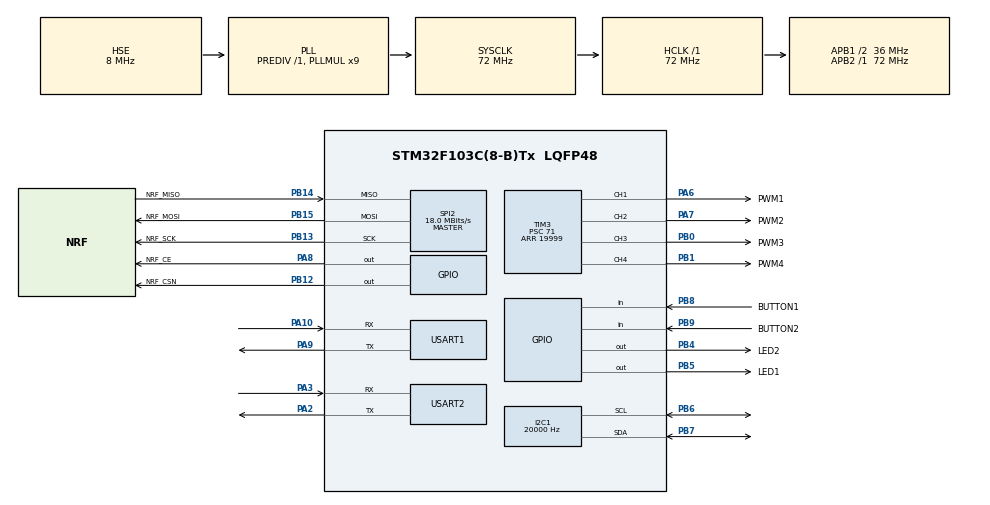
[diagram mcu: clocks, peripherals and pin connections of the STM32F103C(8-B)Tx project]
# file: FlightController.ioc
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Dma.Request0=USART1_RX
Dma.Request1=USART2_RX
Dma.USART1_RX.0.Direction=DMA_PERIPH_TO_MEMORY
Dma.USART1_RX.0.Instance=DMA1_Channel5
Dma.USART1_RX.0.MemDataAlignment=DMA_MDATAALIGN_BYTE
Dma.USART1_RX.0.MemInc=DMA_MINC_ENABLE
Dma.USART1_RX.0.Mode=DMA_NORMAL
Dma.USART1_RX.0.PeriphDataAlignment=DMA_PDATAALIGN_BYTE
Dma.USART1_RX.0.PeriphInc=DMA_PINC_DISABLE
Dma.USART1_RX.0.Priority=DMA_PRIORITY_LOW
Dma.USART2_RX.1.Direction=DMA_PERIPH_TO_MEMORY
Dma.USART2_RX.1.Instance=DMA1_Channel6
Dma.USART2_RX.1.MemDataAlignment=DMA_MDATAALIGN_BYTE
Dma.USART2_RX.1.MemInc=DMA_MINC_ENABLE
Dma.USART2_RX.1.Mode=DMA_NORMAL
Dma.USART2_RX.1.PeriphDataAlignment=DMA_PDATAALIGN_BYTE
Dma.USART2_RX.1.PeriphInc=DMA_PINC_DISABLE
Dma.USART2_RX.1.Priority=DMA_PRIORITY_LOW
I2C1.ClockSpeed=20000
Mcu.Family=STM32F1
Mcu.Name=STM32F103C(8-B)Tx
Mcu.Package=LQFP48
NVIC.DMA1_Channel5_IRQn=true\:0\:0\:false\:false\:true\:false\:true
NVIC.DMA1_Channel6_IRQn=true\:0\:0\:false\:false\:true\:false\:true
NVIC.PriorityGroup=NVIC_PRIORITYGROUP_4
NVIC.TIM4_IRQn=true\:2\:0\:true\:false\:true\:true\:true
NVIC.USART1_IRQn=true\:1\:0\:true\:false\:true\:true\:true
NVIC.USART2_IRQn=true\:1\:0\:true\:false\:true\:true\:true
PA0-WKUP.Mode=SYS_WakeUp0
PA0-WKUP.Signal=SYS_WKUP
PA10.Mode=Asynchronous
PA10.Signal=USART1_RX
PA13.Mode=Serial_Wire
PA13.Signal=SYS_JTMS-SWDIO
PA14.Mode=Serial_Wire
PA14.Signal=SYS_JTCK-SWCLK
PA2.Mode=Asynchronous
PA2.Signal=USART2_TX
PA3.Mode=Asynchronous
PA3.Signal=USART2_RX
PA6.GPIO_Label=PWM1
PA6.Signal=S_TIM3_CH1
PA7.GPIO_Label=PWM2
PA7.Signal=S_TIM3_CH2
PA8.GPIO_Label=NRF_CE
PA8.Signal=GPIO_Output
PA9.Mode=Asynchronous
PA9.Signal=USART1_TX
PB0.GPIO_Label=PWM3
PB0.Signal=S_TIM3_CH3
PB1.GPIO_Label=PWM4
PB1.Signal=S_TIM3_CH4
PB12.GPIO_Label=NRF_CSN
PB12.Signal=GPIO_Output
PB13.GPIO_Label=NRF_SCK
PB13.Mode=Full_Duplex_Master
PB13.Signal=SPI2_SCK
PB14.GPIO_Label=NRF_MISO
PB14.Mode=Full_Duplex_Master
PB14.Signal=SPI2_MISO
PB15.GPIO_Label=NRF_MOSI
PB15.Mode=Full_Duplex_Master
PB15.Signal=SPI2_MOSI
PB4.GPIO_Label=LED2
PB4.Signal=GPIO_Output
PB5.GPIO_Label=LED1
PB5.Signal=GPIO_Output
PB6.Mode=I2C
PB6.Signal=I2C1_SCL
PB7.Mode=I2C
PB7.Signal=I2C1_SDA
PB8.GPIO_Label=BUTTON1
PB8.Signal=GPIO_Input
PB9.GPIO_Label=BUTTON2
PB9.Signal=GPIO_Input
PD0-OSC_IN.Mode=HSE-External-Oscillator
PD0-OSC_IN.Signal=RCC_OSC_IN
PD1-OSC_OUT.Mode=HSE-External-Oscillator
PD1-OSC_OUT.Signal=RCC_OSC_OUT
ProjectManager.HeapSize=0x200
ProjectManager.StackSize=0x400
ProjectManager.TargetToolchain=STM32CubeIDE
RCC.AHBFreq_Value=72000000
RCC.APB1CLKDivider=RCC_HCLK_DIV2
RCC.APB1Freq_Value=36000000
RCC.APB1TimFreq_Value=72000000
RCC.APB2Freq_Value=72000000
RCC.APB2TimFreq_Value=72000000
RCC.HCLKFreq_Value=72000000
RCC.PLLMUL=RCC_PLL_MUL9
RCC.PLLSourceVirtual=RCC_PLLSOURCE_HSE
RCC.SYSCLKFreq_VALUE=72000000
RCC.SYSCLKSource=RCC_SYSCLKSOURCE_PLLCLK
RCC.USBFreq_Value=72000000
SH.S_TIM3_CH1.0=TIM3_CH1,PWM Generation1 CH1
SH.S_TIM3_CH2.0=TIM3_CH2,PWM Generation2 CH2
SH.S_TIM3_CH3.0=TIM3_CH3,PWM Generation3 CH3
SH.S_TIM3_CH4.0=TIM3_CH4,PWM Generation4 CH4
SPI2.CalculateBaudRate=18.0 MBits/s
SPI2.Direction=SPI_DIRECTION_2LINES
SPI2.Mode=SPI_MODE_MASTER
SPI2.VirtualType=VM_MASTER
TIM3.AutoReloadPreload=TIM_AUTORELOAD_PRELOAD_DISABLE
TIM3.Channel-PWM\ Generation1\ CH1=TIM_CHANNEL_1
TIM3.Channel-PWM\ Generation2\ CH2=TIM_CHANNEL_2
TIM3.Channel-PWM\ Generation3\ CH3=TIM_CHANNEL_3
TIM3.Channel-PWM\ Generation4\ CH4=TIM_CHANNEL_4
TIM3.Period=19999
TIM3.Prescaler=71
TIM3.Pulse-PWM\ Generation1\ CH1=1450
TIM3.Pulse-PWM\ Generation2\ CH2=1500
TIM3.Pulse-PWM\ Generation3\ CH3=900
TIM3.Pulse-PWM\ Generation4\ CH4=980
TIM4.Period=999
TIM4.Prescaler=719
USART1.VirtualMode=VM_ASYNC
USART2.VirtualMode=VM_ASYNC
VP_TIM4_VS_ClockSourceINT.Mode=Internal
board=custom

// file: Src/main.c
/* USER CODE BEGIN Header */
/**
  ******************************************************************************
  * @file           : main.c
  * @brief          : Main program body
  ******************************************************************************
  * @attention
  *
  * Copyright (c) 2023 STMicroelectronics.
  * All rights reserved.
  *
  * This software is licensed under terms that can be found in the LICENSE file
  * in the root directory of this software component.
  * If no LICENSE file comes with this software, it is provided AS-IS.
  *
  ******************************************************************************
  */
/* USER CODE END Header */

#include "main.h"

/* USER CODE BEGIN Includes */
#include "mpu9255.h"
#include <stdio.h>
#include "nrf24.h"
#include "pid.h"
#include "motor.h"
#include "frame_uart.h"
/* USER CODE END Includes */

/* USER CODE BEGIN PTD */
#if ((DEBUG_RX + DEBUG_MPU + DEBUG_PWM) > 1)
#error "Define only one DEMO_xx, use the '1' value"
#endif
/* USER CODE END PTD */

I2C_HandleTypeDef hi2c1;

SPI_HandleTypeDef hspi2;

TIM_HandleTypeDef htim3;
TIM_HandleTypeDef htim4;

UART_HandleTypeDef huart1;
UART_HandleTypeDef huart2;
DMA_HandleTypeDef hdma_usart1_rx;
DMA_HandleTypeDef hdma_usart2_rx;

/* USER CODE BEGIN PV */
MPU9255_t MPU9255;

uint32_t value[5];
extern NRF_Packet payload_packet;

PID_t pid;

uint32_t start_time = 0;

#if (TUNING)
volatile float Kp_angle_pitch = 0.0;
volatile float Ki_angle_pitch = 0.0;
volatile float Kd_angle_pitch = 0.0;

volatile float Kp_angle_roll = 0.0;
volatile float Ki_angle_roll = 0.0;
volatile float Kd_angle_roll = 0.0;

volatile float Kp_rate_pitch = 0.0;
volatile float Ki_rate_pitch = 0.0;
volatile float Kd_rate_pitch = 0.0;

volatile float Kp_rate_roll = 0.0;
volatile float Ki_rate_roll = 0.0;
volatile float Kd_rate_roll = 0.0;

volatile float Kp_rate_yaw = 0.0;
volatile float Ki_rate_yaw = 0.0;
volatile float Kd_rate_yaw = 0.0;

float SERVO_RIGHT_OFFSET = 0;          // Servo offset for right servo
float SERVO_LEFT_OFFSET = 0;           //
volatile float MOTOR_RIGHT_OFFSET = 980; //
volatile float MOTOR_LEFT_OFFSET = 900;  //

volatile float set_point = 0;

// qt_tune qt_data;
uint8_t f_trans[FRAME_DATA_TX];
uint8_t f_dest_trans[FRAME_DATA_TX_HANDLE];
uint16_t f_dest_len_t = 0;

uint8_t f_recei[FRAME_DATA_RX_HANDLE];
uint8_t f_dest_recei[FRAME_DATA_RX];
uint16_t f_dest_len_r = 0;
volatile float q_Roll_angle = 0;

#else

#endif

#if TUNING
typedef struct
{
  volatile float Kp_r;
  volatile float Ki_r;
  volatile float Kd_r;

  volatile float Kp_p;
  volatile float Ki_p;
  volatile float Kd_p;

//  volatile float Kp_y;
//  volatile float Ki_y;
//  volatile float Kd_y;

  volatile float off_motor_l;
  volatile float off_motor_r;

  volatile float setpoint;
} tune_pid;

tune_pid pid_para;

#else
#endif

// PWM for ESC, Servo
uint16_t servo_right, servo_left;
uint16_t esc_right, esc_left;

// value from rc
uint8_t data;
/* USER CODE END PV */

void SystemClock_Config(void);
static void MX_GPIO_Init(void);
static void MX_DMA_Init(void);
static void MX_I2C1_Init(void);
static void MX_SPI2_Init(void);
static void MX_TIM3_Init(void);
static void MX_USART1_UART_Init(void);
static void MX_USART2_UART_Init(void);
static void MX_TIM4_Init(void);
/* USER CODE BEGIN PFP */
int _write(int file, char *ptr, int len)
{
  HAL_UART_Transmit(&huart1, (uint8_t *)ptr, len, HAL_MAX_DELAY);
  return len;
}

void receive_value(uint8_t *data_dest, uint8_t *data, uint8_t length)
{
  for (int i = 0; i < length; i++)
    *data++ = *data_dest++;
}

int runRadio(void);
void RX_data(void);
/* USER CODE END PFP */

int main(void)
{

  /* MCU Configuration--------------------------------------------------------*/

  /* Reset of all peripherals, Initializes the Flash interface and the Systick. */
  HAL_Init();

  /* Configure the system clock */
  SystemClock_Config();

  /* Initialize all configured peripherals */
  MX_GPIO_Init();
  MX_DMA_Init();
  MX_I2C1_Init();
  MX_SPI2_Init();
  MX_TIM3_Init();
  MX_USART1_UART_Init();
  MX_USART2_UART_Init();
  MX_TIM4_Init();
  /* USER CODE BEGIN 2 */

  HAL_TIM_PWM_Start(&htim3, TIM_CHANNEL_1);
  HAL_TIM_PWM_Start(&htim3, TIM_CHANNEL_2);
  HAL_TIM_PWM_Start(&htim3, TIM_CHANNEL_3);
  HAL_TIM_PWM_Start(&htim3, TIM_CHANNEL_4);

  HAL_UARTEx_ReceiveToIdle_DMA(&huart2, f_recei, FRAME_DATA_RX_HANDLE);
  __HAL_DMA_DISABLE_IT(&hdma_usart2_rx, DMA_IT_HT);

  runRadio();

  while (MPU9255_Init(&hi2c1) == 1)
  {
    HAL_GPIO_TogglePin(GPIOB, GPIO_PIN_4);
    HAL_Delay(100);
  }

  HAL_Delay(3000);
  while (payload_packet.throttle > 1050)
  {
    // Read again
    RX_data();
    HAL_Delay(20);
  }

  start_time = HAL_GetTick();
  while ((HAL_GetTick() - start_time) < 4000)
  {
    readAll(&hi2c1, &MPU9255);
  }

  //  HAL_UARTEx_ReceiveToIdle_DMA(&huart1, f_recei, FRAME_DATA_RX_HANDLE);
  //  __HAL_DMA_DISABLE_IT(&hdma_usart1_rx, DMA_IT_HT);
  HAL_TIM_Base_Start_IT(&htim4);

  /* USER CODE END 2 */

  /* Infinite loop */
  while (1)
  {

  }
}

void SystemClock_Config(void)
{
  RCC_OscInitTypeDef RCC_OscInitStruct = {0};
  RCC_ClkInitTypeDef RCC_ClkInitStruct = {0};

  /** Initializes the CPU, AHB and APB busses clocks
  */
  RCC_OscInitStruct.OscillatorType = RCC_OSCILLATORTYPE_HSE;
  RCC_OscInitStruct.HSEState = RCC_HSE_ON;
  RCC_OscInitStruct.HSEPredivValue = RCC_HSE_PREDIV_DIV1;
  RCC_OscInitStruct.HSIState = RCC_HSI_ON;
  RCC_OscInitStruct.PLL.PLLState = RCC_PLL_ON;
  RCC_OscInitStruct.PLL.PLLSource = RCC_PLLSOURCE_HSE;
  RCC_OscInitStruct.PLL.PLLMUL = RCC_PLL_MUL9;
  if (HAL_RCC_OscConfig(&RCC_OscInitStruct) != HAL_OK)
  {
    Error_Handler();
  }
  /** Initializes the CPU, AHB and APB busses clocks
  */
  RCC_ClkInitStruct.ClockType = RCC_CLOCKTYPE_HCLK|RCC_CLOCKTYPE_SYSCLK
                              |RCC_CLOCKTYPE_PCLK1|RCC_CLOCKTYPE_PCLK2;
  RCC_ClkInitStruct.SYSCLKSource = RCC_SYSCLKSOURCE_PLLCLK;
  RCC_ClkInitStruct.AHBCLKDivider = RCC_SYSCLK_DIV1;
  RCC_ClkInitStruct.APB1CLKDivider = RCC_HCLK_DIV2;
  RCC_ClkInitStruct.APB2CLKDivider = RCC_HCLK_DIV1;

  if (HAL_RCC_ClockConfig(&RCC_ClkInitStruct, FLASH_LATENCY_2) != HAL_OK)
  {
    Error_Handler();
  }
}

static void MX_I2C1_Init(void)
{

  hi2c1.Instance = I2C1;
  hi2c1.Init.ClockSpeed = 100000;
  hi2c1.Init.DutyCycle = I2C_DUTYCYCLE_2;
  hi2c1.Init.OwnAddress1 = 0;
  hi2c1.Init.AddressingMode = I2C_ADDRESSINGMODE_7BIT;
  hi2c1.Init.DualAddressMode = I2C_DUALADDRESS_DISABLE;
  hi2c1.Init.OwnAddress2 = 0;
  hi2c1.Init.GeneralCallMode = I2C_GENERALCALL_DISABLE;
  hi2c1.Init.NoStretchMode = I2C_NOSTRETCH_DISABLE;
  if (HAL_I2C_Init(&hi2c1) != HAL_OK)
  {
    Error_Handler();
  }

}

static void MX_SPI2_Init(void)
{

  /* SPI2 parameter configuration*/
  hspi2.Instance = SPI2;
  hspi2.Init.Mode = SPI_MODE_MASTER;
  hspi2.Init.Direction = SPI_DIRECTION_2LINES;
  hspi2.Init.DataSize = SPI_DATASIZE_8BIT;
  hspi2.Init.CLKPolarity = SPI_POLARITY_LOW;
  hspi2.Init.CLKPhase = SPI_PHASE_1EDGE;
  hspi2.Init.NSS = SPI_NSS_SOFT;
  hspi2.Init.BaudRatePrescaler = SPI_BAUDRATEPRESCALER_2;
  hspi2.Init.FirstBit = SPI_FIRSTBIT_MSB;
  hspi2.Init.TIMode = SPI_TIMODE_DISABLE;
  hspi2.Init.CRCCalculation = SPI_CRCCALCULATION_DISABLE;
  hspi2.Init.CRCPolynomial = 10;
  if (HAL_SPI_Init(&hspi2) != HAL_OK)
  {
    Error_Handler();
  }

}

static void MX_TIM3_Init(void)
{

  TIM_MasterConfigTypeDef sMasterConfig = {0};
  TIM_OC_InitTypeDef sConfigOC = {0};

  htim3.Instance = TIM3;
  htim3.Init.Prescaler = 71;
  htim3.Init.CounterMode = TIM_COUNTERMODE_UP;
  htim3.Init.Period = 19999;
  htim3.Init.ClockDivision = TIM_CLOCKDIVISION_DIV1;
  htim3.Init.AutoReloadPreload = TIM_AUTORELOAD_PRELOAD_DISABLE;
  if (HAL_TIM_PWM_Init(&htim3) != HAL_OK)
  {
    Error_Handler();
  }
  sMasterConfig.MasterOutputTrigger = TIM_TRGO_RESET;
  sMasterConfig.MasterSlaveMode = TIM_MASTERSLAVEMODE_DISABLE;
  if (HAL_TIMEx_MasterConfigSynchronization(&htim3, &sMasterConfig) != HAL_OK)
  {
    Error_Handler();
  }
  sConfigOC.OCMode = TIM_OCMODE_PWM1;
  sConfigOC.Pulse = 1450;
  sConfigOC.OCPolarity = TIM_OCPOLARITY_HIGH;
  sConfigOC.OCFastMode = TIM_OCFAST_DISABLE;
  if (HAL_TIM_PWM_ConfigChannel(&htim3, &sConfigOC, TIM_CHANNEL_1) != HAL_OK)
  {
    Error_Handler();
  }
  sConfigOC.Pulse = 1500;
  if (HAL_TIM_PWM_ConfigChannel(&htim3, &sConfigOC, TIM_CHANNEL_2) != HAL_OK)
  {
    Error_Handler();
  }
  sConfigOC.Pulse = 900;
  if (HAL_TIM_PWM_ConfigChannel(&htim3, &sConfigOC, TIM_CHANNEL_3) != HAL_OK)
  {
    Error_Handler();
  }
  sConfigOC.Pulse = 980;
  if (HAL_TIM_PWM_ConfigChannel(&htim3, &sConfigOC, TIM_CHANNEL_4) != HAL_OK)
  {
    Error_Handler();
  }
  HAL_TIM_MspPostInit(&htim3);

}

static void MX_TIM4_Init(void)
{

  TIM_ClockConfigTypeDef sClockSourceConfig = {0};
  TIM_MasterConfigTypeDef sMasterConfig = {0};

  htim4.Instance = TIM4;
  htim4.Init.Prescaler = 719;
  htim4.Init.CounterMode = TIM_COUNTERMODE_UP;
  htim4.Init.Period = 999;
  htim4.Init.ClockDivision = TIM_CLOCKDIVISION_DIV1;
  htim4.Init.AutoReloadPreload = TIM_AUTORELOAD_PRELOAD_DISABLE;
  if (HAL_TIM_Base_Init(&htim4) != HAL_OK)
  {
    Error_Handler();
  }
  sClockSourceConfig.ClockSource = TIM_CLOCKSOURCE_INTERNAL;
  if (HAL_TIM_ConfigClockSource(&htim4, &sClockSourceConfig) != HAL_OK)
  {
    Error_Handler();
  }
  sMasterConfig.MasterOutputTrigger = TIM_TRGO_RESET;
  sMasterConfig.MasterSlaveMode = TIM_MASTERSLAVEMODE_DISABLE;
  if (HAL_TIMEx_MasterConfigSynchronization(&htim4, &sMasterConfig) != HAL_OK)
  {
    Error_Handler();
  }

}

static void MX_USART1_UART_Init(void)
{

  huart1.Instance = USART1;
  huart1.Init.BaudRate = 115200;
  huart1.Init.WordLength = UART_WORDLENGTH_8B;
  huart1.Init.StopBits = UART_STOPBITS_1;
  huart1.Init.Parity = UART_PARITY_NONE;
  huart1.Init.Mode = UART_MODE_TX_RX;
  huart1.Init.HwFlowCtl = UART_HWCONTROL_NONE;
  huart1.Init.OverSampling = UART_OVERSAMPLING_16;
  if (HAL_UART_Init(&huart1) != HAL_OK)
  {
    Error_Handler();
  }

}

static void MX_USART2_UART_Init(void)
{

  huart2.Instance = USART2;
  huart2.Init.BaudRate = 115200;
  huart2.Init.WordLength = UART_WORDLENGTH_8B;
  huart2.Init.StopBits = UART_STOPBITS_1;
  huart2.Init.Parity = UART_PARITY_NONE;
  huart2.Init.Mode = UART_MODE_TX_RX;
  huart2.Init.HwFlowCtl = UART_HWCONTROL_NONE;
  huart2.Init.OverSampling = UART_OVERSAMPLING_16;
  if (HAL_UART_Init(&huart2) != HAL_OK)
  {
    Error_Handler();
  }

}

static void MX_DMA_Init(void)
{

  /* DMA controller clock enable */
  __HAL_RCC_DMA1_CLK_ENABLE();

  /* DMA interrupt init */
  /* DMA1_Channel5_IRQn interrupt configuration */
  HAL_NVIC_SetPriority(DMA1_Channel5_IRQn, 0, 0);
  HAL_NVIC_EnableIRQ(DMA1_Channel5_IRQn);
  /* DMA1_Channel6_IRQn interrupt configuration */
  HAL_NVIC_SetPriority(DMA1_Channel6_IRQn, 0, 0);
  HAL_NVIC_EnableIRQ(DMA1_Channel6_IRQn);

}

static void MX_GPIO_Init(void)
{
  GPIO_InitTypeDef GPIO_InitStruct = {0};

  /* GPIO Ports Clock Enable */
  __HAL_RCC_GPIOD_CLK_ENABLE();
  __HAL_RCC_GPIOA_CLK_ENABLE();
  __HAL_RCC_GPIOB_CLK_ENABLE();

  /*Configure GPIO pin Output Level */
  HAL_GPIO_WritePin(GPIOB, NRF_CSN_Pin|LED2_Pin|LED1_Pin, GPIO_PIN_RESET);

  /*Configure GPIO pin Output Level */
  HAL_GPIO_WritePin(NRF_CE_GPIO_Port, NRF_CE_Pin, GPIO_PIN_RESET);

  /*Configure GPIO pins : NRF_CSN_Pin LED2_Pin LED1_Pin */
  GPIO_InitStruct.Pin = NRF_CSN_Pin|LED2_Pin|LED1_Pin;
  GPIO_InitStruct.Mode = GPIO_MODE_OUTPUT_PP;
  GPIO_InitStruct.Pull = GPIO_NOPULL;
  GPIO_InitStruct.Speed = GPIO_SPEED_FREQ_LOW;
  HAL_GPIO_Init(GPIOB, &GPIO_InitStruct);

  /*Configure GPIO pin : NRF_CE_Pin */
  GPIO_InitStruct.Pin = NRF_CE_Pin;
  GPIO_InitStruct.Mode = GPIO_MODE_OUTPUT_PP;
  GPIO_InitStruct.Pull = GPIO_NOPULL;
  GPIO_InitStruct.Speed = GPIO_SPEED_FREQ_LOW;
  HAL_GPIO_Init(NRF_CE_GPIO_Port, &GPIO_InitStruct);

  /*Configure GPIO pins : BUTTON1_Pin BUTTON2_Pin */
  GPIO_InitStruct.Pin = BUTTON1_Pin|BUTTON2_Pin;
  GPIO_InitStruct.Mode = GPIO_MODE_INPUT;
  GPIO_InitStruct.Pull = GPIO_NOPULL;
  HAL_GPIO_Init(GPIOB, &GPIO_InitStruct);

}

/* USER CODE BEGIN 4 */
void HAL_TIM_PeriodElapsedCallback(TIM_HandleTypeDef *htim)
{
  uint32_t start = HAL_GetTick();

  if (htim->Instance == htim4.Instance)
  {
    RX_data();
    start = HAL_GetTick();
    readAll(&hi2c1, &MPU9255);
    uint32_t time = HAL_GetTick() - start;

    pid_roll(payload_packet.roll, MPU9255.roll, MPU9255.GyroX, &pid);
    //pid_pitch(payload_packet.pitch, MPU9255.pitch, MPU9255.GyroY, &pid);
  //  pid_yaw(payload_packet.yaw, MPU9255.GyroZ, &pid);

    // value PWM
    calculate_motor_output(&esc_right, &esc_left, &servo_right, &servo_left, payload_packet.throttle, &pid);

//     htim3.Instance->CCR1 = servo_right; //vang
//     htim3.Instance->CCR2 = servo_left; //trang
     htim3.Instance->CCR4 = esc_right; // trang
     htim3.Instance->CCR3 = esc_left;  // vang

    // send to GUI
   // q_Roll_angle = MPU9255.roll + 2000;
      q_Roll_angle = MPU9255.GyroX+ 2000;

    sprintf((char *)f_trans, "%d%d", (uint16_t)(2000+set_point), (uint16_t)q_Roll_angle);
    SendFrameData(f_trans, FRAME_DATA_TX, f_dest_trans, &f_dest_len_t);
    HAL_UART_Transmit(&huart2, f_dest_trans, f_dest_len_t, 1000);
  }
  uint32_t time = HAL_GetTick() - start;
}
void HAL_UARTEx_RxEventCallback(UART_HandleTypeDef *huart, uint16_t Size)
{
  HAL_UARTEx_ReceiveToIdle_DMA(&huart2, f_recei, FRAME_DATA_RX_HANDLE);
  __HAL_DMA_DISABLE_IT(&hdma_usart2_rx, DMA_IT_HT);
  receive_value(f_recei, (uint8_t *)&pid_para, Size);

  Kp_rate_roll = pid_para.Kp_p;
  Ki_rate_roll = pid_para.Ki_p;
  Kd_rate_roll = pid_para.Kd_p;

  Kp_angle_roll = pid_para.Kp_r;
  Ki_angle_roll = pid_para.Ki_r;
  Kd_angle_roll = pid_para.Kd_r;

  MOTOR_LEFT_OFFSET = pid_para.off_motor_l;
  MOTOR_RIGHT_OFFSET = pid_para.off_motor_r;
  set_point =  pid_para.setpoint;
  //  f_dest_len_r = Size;
}
/* USER CODE END 4 */

void Error_Handler(void)
{
  __disable_irq();
  while (1)
  {
  }
}

/************************ (C) COPYRIGHT STMicroelectronics *****END OF FILE****/
